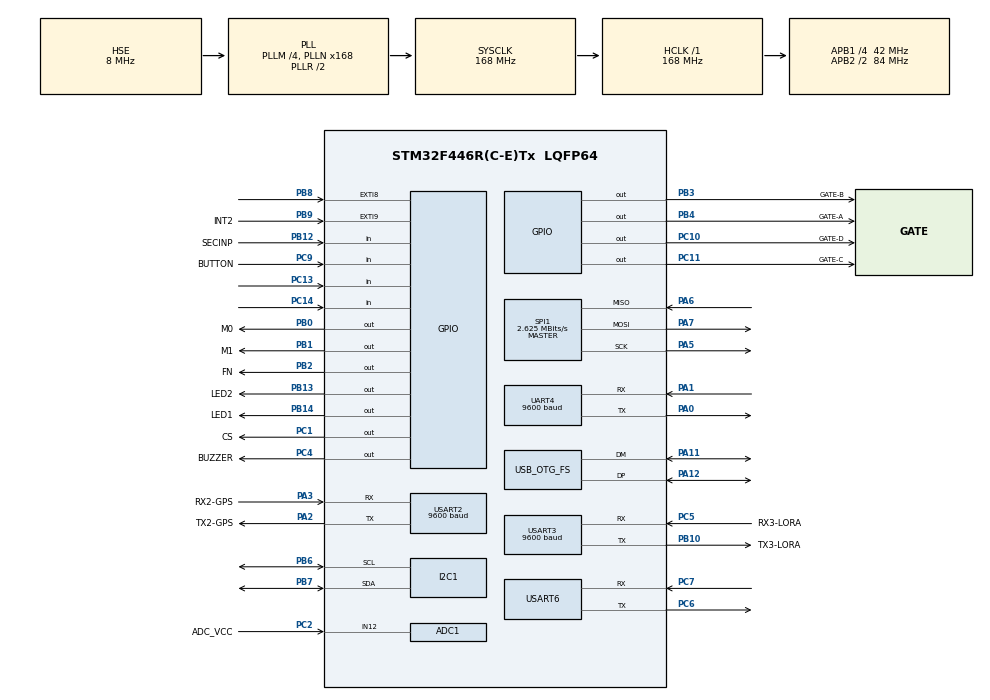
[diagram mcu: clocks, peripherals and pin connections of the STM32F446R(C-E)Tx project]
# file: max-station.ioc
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ADC1.Channel-11\#ChannelRegularConversion=ADC_CHANNEL_12
ADC1.ContinuousConvMode=ENABLE
ADC1.NbrOfConversionFlag=1
ADC1.Rank-11\#ChannelRegularConversion=1
ADC1.SamplingTime-11\#ChannelRegularConversion=ADC_SAMPLETIME_3CYCLES
ADC1.master=1
Dma.Request0=USART3_RX
Dma.Request1=USART6_RX
Dma.USART3_RX.0.Direction=DMA_PERIPH_TO_MEMORY
Dma.USART3_RX.0.FIFOMode=DMA_FIFOMODE_DISABLE
Dma.USART3_RX.0.Instance=DMA1_Stream1
Dma.USART3_RX.0.MemDataAlignment=DMA_MDATAALIGN_BYTE
Dma.USART3_RX.0.MemInc=DMA_MINC_ENABLE
Dma.USART3_RX.0.Mode=DMA_NORMAL
Dma.USART3_RX.0.PeriphDataAlignment=DMA_PDATAALIGN_BYTE
Dma.USART3_RX.0.PeriphInc=DMA_PINC_DISABLE
Dma.USART3_RX.0.Priority=DMA_PRIORITY_LOW
Dma.USART6_RX.1.Direction=DMA_PERIPH_TO_MEMORY
Dma.USART6_RX.1.FIFOMode=DMA_FIFOMODE_DISABLE
Dma.USART6_RX.1.Instance=DMA2_Stream1
Dma.USART6_RX.1.MemDataAlignment=DMA_MDATAALIGN_BYTE
Dma.USART6_RX.1.MemInc=DMA_MINC_ENABLE
Dma.USART6_RX.1.Mode=DMA_NORMAL
Dma.USART6_RX.1.PeriphDataAlignment=DMA_PDATAALIGN_BYTE
Dma.USART6_RX.1.PeriphInc=DMA_PINC_DISABLE
Dma.USART6_RX.1.Priority=DMA_PRIORITY_LOW
I2C1.I2C_Mode=I2C_Standard
Mcu.Family=STM32F4
Mcu.Name=STM32F446R(C-E)Tx
Mcu.Package=LQFP64
NVIC.ADC_IRQn=true\:0\:0\:false\:false\:true\:true\:true\:true
NVIC.DMA1_Stream1_IRQn=true\:0\:0\:false\:false\:true\:false\:true\:true
NVIC.DMA2_Stream1_IRQn=true\:0\:0\:false\:false\:true\:false\:true\:true
NVIC.OTG_FS_IRQn=true\:0\:0\:false\:false\:true\:false\:true\:true
NVIC.PriorityGroup=NVIC_PRIORITYGROUP_4
NVIC.TIM1_TRG_COM_TIM11_IRQn=true\:0\:0\:false\:false\:true\:true\:true\:true
NVIC.USART2_IRQn=true\:1\:0\:true\:false\:true\:true\:true\:true
NVIC.USART3_IRQn=true\:0\:0\:false\:false\:true\:true\:true\:true
NVIC.USART6_IRQn=true\:0\:0\:false\:false\:true\:true\:true\:true
PA0-WKUP.Mode=Asynchronous
PA0-WKUP.Signal=UART4_TX
PA1.Mode=Asynchronous
PA1.Signal=UART4_RX
PA11.Mode=Device_Only
PA11.Signal=USB_OTG_FS_DM
PA12.Mode=Device_Only
PA12.Signal=USB_OTG_FS_DP
PA13.Mode=Serial_Wire
PA13.Signal=SYS_JTMS-SWDIO
PA14.Mode=Serial_Wire
PA14.Signal=SYS_JTCK-SWCLK
PA2.GPIO_Label=TX2-GPS
PA2.Mode=Asynchronous
PA2.Signal=USART2_TX
PA3.GPIO_Label=RX2-GPS
PA3.Mode=Asynchronous
PA3.Signal=USART2_RX
PA5.Mode=Full_Duplex_Master
PA5.Signal=SPI1_SCK
PA6.Mode=Full_Duplex_Master
PA6.Signal=SPI1_MISO
PA7.Mode=Full_Duplex_Master
PA7.Signal=SPI1_MOSI
PB0.GPIO_Label=M0
PB0.Signal=GPIO_Output
PB1.GPIO_Label=M1
PB1.Signal=GPIO_Output
PB10.GPIO_Label=TX3-LORA
PB10.Mode=Asynchronous
PB10.Signal=USART3_TX
PB12.GPIO_Label=SECINP
PB12.GPIO_PuPd=GPIO_PULLUP
PB12.Signal=GPIO_Input
PB13.GPIO_Label=LED2
PB13.Signal=GPIO_Output
PB14.GPIO_Label=LED1
PB14.Signal=GPIO_Output
PB2.GPIO_Label=FN
PB2.Signal=GPIO_Output
PB3.GPIO_Label=GATE-B
PB3.Signal=GPIO_Output
PB4.GPIO_Label=GATE-A
PB4.Signal=GPIO_Output
PB6.Mode=I2C
PB6.Signal=I2C1_SCL
PB7.Mode=I2C
PB7.Signal=I2C1_SDA
PB8.GPIO_ModeDefaultEXTI=GPIO_MODE_IT_RISING
PB8.Signal=GPXTI8
PB9.GPIO_Label=INT2
PB9.GPIO_PuPd=GPIO_NOPULL
PB9.Signal=GPXTI9
PC1.GPIO_Label=CS
PC1.Signal=GPIO_Output
PC10.GPIO_Label=GATE-D
PC10.Signal=GPIO_Output
PC11.GPIO_Label=GATE-C
PC11.Signal=GPIO_Output
PC13.Signal=GPIO_Input
PC14-OSC32_IN.Signal=GPIO_Input
PC2.GPIO_Label=ADC_VCC
PC2.Signal=ADCx_IN12
PC4.GPIO_Label=BUZZER
PC4.Signal=GPIO_Output
PC5.GPIO_Label=RX3-LORA
PC5.Mode=Asynchronous
PC5.Signal=USART3_RX
PC6.Mode=Asynchronous
PC6.Signal=USART6_TX
PC7.Mode=Asynchronous
PC7.Signal=USART6_RX
PC9.GPIO_Label=BUTTON
PC9.GPIO_PuPd=GPIO_PULLUP
PC9.Signal=GPIO_Input
PH0-OSC_IN.Mode=HSE-External-Oscillator
PH0-OSC_IN.Signal=RCC_OSC_IN
PH1-OSC_OUT.Mode=HSE-External-Oscillator
PH1-OSC_OUT.Signal=RCC_OSC_OUT
ProjectManager.HeapSize=0x200
ProjectManager.StackSize=0x400
ProjectManager.TargetToolchain=STM32CubeIDE
RCC.AHBFreq_Value=168000000
RCC.APB1CLKDivider=RCC_HCLK_DIV4
RCC.APB1Freq_Value=42000000
RCC.APB1TimFreq_Value=84000000
RCC.APB2CLKDivider=RCC_HCLK_DIV2
RCC.APB2Freq_Value=84000000
RCC.APB2TimFreq_Value=168000000
RCC.CortexFreq_Value=168000000
RCC.HCLKFreq_Value=168000000
RCC.HSE_VALUE=8000000
RCC.PLLM=4
RCC.PLLN=168
RCC.PLLQ=7
RCC.PLLSourceVirtual=RCC_PLLSOURCE_HSE
RCC.SYSCLKFreq_VALUE=168000000
RCC.SYSCLKSource=RCC_SYSCLKSOURCE_PLLRCLK
RCC.USBFreq_Value=48000000
RCC.VCOOutputFreq_Value=336000000
SH.ADCx_IN12.0=ADC1_IN12,IN12
SPI1.BaudRatePrescaler=SPI_BAUDRATEPRESCALER_32
SPI1.CalculateBaudRate=2.625 MBits/s
SPI1.Direction=SPI_DIRECTION_2LINES
SPI1.Mode=SPI_MODE_MASTER
SPI1.VirtualType=VM_MASTER
TIM11.Period=15000-1
TIM11.Prescaler=16800
UART4.BaudRate=9600
UART4.VirtualMode=Asynchronous
USART2.BaudRate=9600
USART2.VirtualMode=VM_ASYNC
USART3.BaudRate=9600
USART3.VirtualMode=VM_ASYNC
USART6.VirtualMode=VM_ASYNC
USB_DEVICE.CLASS_NAME_FS=CDC
USB_DEVICE.VirtualMode-CDC_FS=Cdc
USB_DEVICE.VirtualModeFS=Cdc_FS
USB_OTG_FS.VirtualMode=Device_Only
VP_FATFS_VS_Generic.Mode=User_defined
VP_TIM11_VS_ClockSourceINT.Mode=Enable_Timer
VP_USB_DEVICE_VS_USB_DEVICE_CDC_FS.Mode=CDC_FS
board=custom

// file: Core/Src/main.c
/* USER CODE BEGIN Header */
/**
  ******************************************************************************
  * @file           : main.c
  * @brief          : Main program body
  ******************************************************************************
  * @attention
  *
  * Copyright (c) 2024 STMicroelectronics.
  * All rights reserved.
  *
  * This software is licensed under terms that can be found in the LICENSE file
  * in the root directory of this software component.
  * If no LICENSE file comes with this software, it is provided AS-IS.
  *
  ******************************************************************************
  */
/* USER CODE END Header */
#include "main.h"
#include "fatfs.h"
#include "usb_device.h"

/* USER CODE BEGIN Includes */
#include "lwgps/lwgps.h"
#include "w25q.h"
#include <math.h>
#include "stdio.h"
#include "string.h"
/* USER CODE END Includes */

/* USER CODE BEGIN PD */
#define LORA_RX_BUFFER_SIZE 75
#define RX_BUFFER_SIZE 128
#define HYI_BUFFER_SIZE 78

#define TAKIM_ID 31
/* USER CODE END PD */

ADC_HandleTypeDef hadc1;

I2C_HandleTypeDef hi2c1;

SPI_HandleTypeDef hspi1;

TIM_HandleTypeDef htim11;

UART_HandleTypeDef huart4;
UART_HandleTypeDef huart2;
UART_HandleTypeDef huart3;
UART_HandleTypeDef huart6;
DMA_HandleTypeDef hdma_usart3_rx;
DMA_HandleTypeDef hdma_usart6_rx;

/* USER CODE BEGIN PV */
uint8_t lora_rx_buffer[LORA_RX_BUFFER_SIZE];
uint8_t RS_rx_buffer[LORA_RX_BUFFER_SIZE];
uint8_t rx_index_lora=0;
uint8_t rx_data_lora=0;

uint8_t HYI_BUFFER[HYI_BUFFER_SIZE];

uint8_t gps_rx_buffer[RX_BUFFER_SIZE];
uint8_t rx_index=0;
uint8_t rx_data=0;

uint8_t Cmd_End[3] = {0xff,0xff,0xff};

uint8_t nextion_rx_data[5];

const double PI = 4.0*atan(1.0);
const double radius_of_earth = 6378136.0474;
double _distance=0;
double _angle=0;

///////////////sustainer
uint8_t sustgpssatsinview=0;
float sustgpsaltitude=0;
float sustgpslatitude=0;
float sustgpslongitude=0;
float sustspeed=0;
float sustaltitude=0;
float susttemperature=0;
float sustaccx=0;
float sustaccy=0;
float sustaccz=0;
float sustroll=0;
float sustpitch=0;
uint8_t sustv4_battery=0;
uint8_t sustv4_mod=0;
uint8_t suststage_communication=0;

float s_distance=0;

//egu
uint8_t EGU_ARIZA=0;
uint8_t EGU_AYRILMA_TESPIT=0;
uint8_t EGU_MOTOR_ATESLEME_TALEP_IN=0;
uint8_t EGU_STAGE_DURUM=0;
uint8_t EGU_UCUS_BASLADIMI=0;
uint8_t EGU_FITIL =0;

float EGU_BATTERY=0;
float EGU_IRTIFA=0;
float EGU_ANGLE=0;

////////////BOOOSTER

uint8_t boostgpssatsinview=0;
float boostgpsaltitude=0;
float boostgpslatitude=0;
float boostgpslongitude=0;
float boostspeed=0;
float boostaltitude=0;
float boosttemperature=0;
float boostaccx=0;
float boostaccy=0;
float boostaccz=0;
float boostroll=0;
float boostpitch=0;
uint8_t boostv4_battery=0;
uint8_t boostv4_mod=0;
uint8_t booststage_communication=0;

float bs_distance=0;

typedef struct
{	uint8_t satsinview;
	float gpsaltitude;
	float gpslatitude;
	float gpslongitude;
	float speed;
	float altitude;
	float temperature;
	float accx;
	float accy;
	float accz;
	float normal;
	float pitch;
	float maxAltitude;
	uint8_t battery;
	uint8_t mod;
	uint8_t communication;

}dataTypeDef;

dataTypeDef Payload, Booster , Sustainer;

///////////////////////////////////////////////////booster ekran
uint8_t b_altitude[8];
uint8_t b_temperature[5];
uint8_t b_speed[5];
uint8_t b_roll[5];
uint8_t b_pitch[5];
uint8_t b_latitude[9];
uint8_t b_longitude[9];
uint8_t b_bat[2];
uint8_t b_sats[2];
uint8_t b_comm[2];
uint8_t b_dist[6];

uint8_t enum_bs[9];
uint8_t enum_s[9];

char s_altitude[8];
uint8_t s_temperature[5];
uint8_t s_speed[5];
uint8_t s_roll[5];
uint8_t s_pitch[5];
uint8_t s_latitude[9];
uint8_t s_longitude[9];
uint8_t s_bat[2];
uint8_t s_sats[2];
uint8_t s_comm[2];
uint8_t s_dist[6];

///////////////////////////////////////////////////
uint8_t seconds[2];
uint8_t minutes[2];
uint8_t hours[2];
/////////////////////////////////////////////////
uint8_t p_latitude[9];
uint8_t p_longitude[9];
uint8_t p_altitude[7];
uint8_t p_gpsaltitude[7];
uint8_t p_bat[2];
////////////////////////////////////////////////
uint8_t e_altitude[7];
uint8_t e_bat[2];
uint8_t e_angle[5];
uint8_t e_flight[2];
uint8_t e_stage[2];
uint8_t e_fitil[5];
uint8_t e_engine_request[3];

uint8_t test_index=0;

float adc;
float adc_pil_val;
uint8_t adc_flag;

uint8_t st_bat[2];

uint32_t tim1=0;
uint32_t takim_sayac;

uint8_t BUTTON_STATE=0;

uint8_t writeData[50] = {0,1,1,1};
uint8_t readData[50] = {0};

uint32_t crc;
uint8_t chs;
lwgps_t gps;

typedef union{
  float fVal;
  unsigned char array[4];
}float2unit8;

float2unit8 f2u8_booster;
int counthalf=0,countfull=0;

/* USER CODE END PV */

void SystemClock_Config(void);
static void MX_GPIO_Init(void);
static void MX_DMA_Init(void);
static void MX_ADC1_Init(void);
static void MX_I2C1_Init(void);
static void MX_SPI1_Init(void);
static void MX_UART4_Init(void);
static void MX_USART2_UART_Init(void);
static void MX_USART3_UART_Init(void);
static void MX_TIM11_Init(void);
static void MX_USART6_UART_Init(void);
/* USER CODE BEGIN PFP */
void E220_CONFIG(uint8_t ADDH, uint8_t ADDL, uint8_t CHN, uint8_t MODE);
double distance_in_m(double lat1, double long1, double lat2, double long2);
double toRadians(double degree);
double calculateAngle(double lat1, double lon1, double lat2, double lon2);
void NEXTION_SendString (char *ID, char *string);
void NEXTION_SendNum (char *obj, int32_t num);
void NEXTION_SendFloat (char *obj, float num, int dp);
void HYI_BUFFER_Fill(void);
void Payload_union_converter(void);
void Booster_union_converter(void);
void Sustainer_union_converter(void);
void Screen_Update(void);
void Enum_State_bs(void);
void Enum_State_s(void);
void Nextion_SendCommand(char* command);
void Nextion_SendFloatToTextbox(char* textbox_id, float value);
/* USER CODE END PFP */

/* USER CODE BEGIN 0 */
//void HAL_UART_RxHalfCpltCallback(UART_HandleTypeDef *huart)
//{
//	counthalf++;
//}

void HAL_UART_RxCpltCallback(UART_HandleTypeDef *huart)
{
	if(huart == &huart6){ // RS232 Alım
	if(rx_data_lora != '\n'&& rx_index_lora < LORA_RX_BUFFER_SIZE){
		RS_rx_buffer[rx_index_lora++]=rx_data_lora;

	}
	else{
		rx_data_lora=0;
		rx_index_lora=0;

		}
	HAL_UART_Receive_IT(&huart6, &rx_data_lora, 1);
	}
//
	if(huart == &huart3){ // Lora alım

		HAL_UART_Receive_DMA(&huart3, lora_rx_buffer, 75);
	}

	if(huart == &huart2) {
			if( rx_data != '\n'&& rx_index < RX_BUFFER_SIZE) {
				gps_rx_buffer[rx_index++] = rx_data;
			} else {
				lwgps_process(&gps, gps_rx_buffer, rx_index+1);
				rx_index = 0;
				rx_data = 0;
			}
			HAL_UART_Receive_IT(&huart2, &rx_data, 1);
		}
}

void HAL_TIM_PeriodElapsedCallback(TIM_HandleTypeDef *htim)
{

	if(htim==&htim11){ // 1 sn
   adc_flag=1;

	}

}

void HAL_ADC_ConvCpltCallback(ADC_HandleTypeDef* hadc)
{
	if(hadc->Instance == ADC1 )
	{
		adc= HAL_ADC_GetValue(&hadc1);

		//adc_flag = 1;
	}
}

/* USER CODE END 0 */

int main(void)
{

  /* MCU Configuration--------------------------------------------------------*/

  /* Reset of all peripherals, Initializes the Flash interface and the Systick. */
   HAL_Init();

  /* Configure the system clock */
  SystemClock_Config();

  /* Initialize all configured peripherals */
  MX_GPIO_Init();
  MX_DMA_Init();
  MX_ADC1_Init();
  MX_I2C1_Init();
  MX_SPI1_Init();
  MX_UART4_Init();
  MX_USART2_UART_Init();
  MX_USART3_UART_Init();
  MX_FATFS_Init();
  MX_TIM11_Init();
  MX_USB_DEVICE_Init();
  MX_USART6_UART_Init();
  /* USER CODE BEGIN 2 */

 // HAL_UART_Receive_IT(&huart3, &rx_data_lora, 1);
  HAL_UART_Receive_DMA(&huart3, lora_rx_buffer, 75);
  HAL_UART_Receive_IT(&huart6, &rx_data_lora, 1);
  HAL_UART_Receive_IT(&huart2,&rx_data, 1);
  E220_CONFIG(0x8,0x2A,0x10,1); //0x8,0x2A,0x10,1
  lwgps_init(&gps);

  HAL_ADC_Start_IT(&hadc1);
  HAL_TIM_Base_Start_IT(&htim11);

  tim1=HAL_GetTick();
  /* USER CODE END 2 */

  /* Infinite loop */
  /* USER CODE BEGIN WHILE */
  while (1)
  {

		  HYI_BUFFER_Fill();

	  if(lora_rx_buffer[3]==2 && lora_rx_buffer[50] == 0x31){

		  Sustainer.satsinview=lora_rx_buffer[4];

		  Sustainer_union_converter();
		  Sustainer.battery=lora_rx_buffer[49];
		  Sustainer.mod=lora_rx_buffer[73];
		  Sustainer.communication=lora_rx_buffer[51];

			 //EGU PART
			 EGU_ARIZA=lora_rx_buffer[52];
			 EGU_AYRILMA_TESPIT=lora_rx_buffer[53];

			 float2unit8 f2u8_EGU_BATTERY;
			for(uint8_t i=0;i<4;i++)
			{
				f2u8_EGU_BATTERY.array[i]=lora_rx_buffer[i+54];
			}
			 EGU_BATTERY=f2u8_EGU_BATTERY.fVal;

			 float2unit8 f2u8_EGU_ANGLE;
			for(uint8_t i=0;i<4;i++)
			{
				f2u8_EGU_ANGLE.array[i]=lora_rx_buffer[i+58];
			}
			  EGU_ANGLE=f2u8_EGU_ANGLE.fVal;

			  float2unit8 f2u8_EGU_IRTIFA;
			for(uint8_t i=0;i<4;i++)
			{
				f2u8_EGU_IRTIFA.array[i]=lora_rx_buffer[i+62];
			}
		  EGU_IRTIFA=f2u8_EGU_IRTIFA.fVal;

		  EGU_FITIL=lora_rx_buffer[53];
	/*  EGU_UCUS_BASLADIMI*/sustv4_mod=lora_rx_buffer[66];
		  EGU_STAGE_DURUM=lora_rx_buffer[67];
		  EGU_MOTOR_ATESLEME_TALEP_IN=lora_rx_buffer[68];

		  f2u8_altitude.array[0] = lora_rx_buffer[69];
		  f2u8_altitude.array[1] = lora_rx_buffer[70];
		  f2u8_altitude.array[2] = lora_rx_buffer[71];
		  f2u8_altitude.array[3] = lora_rx_buffer[72];
		  Sustainer.maxAltitude=f2u8_altitude.fVal;

}

	   if(RS_rx_buffer[3]==1 && RS_rx_buffer[50]==0x32){

		  Booster.satsinview=RS_rx_buffer[4];

    	  Booster_union_converter();
		  Booster.battery=RS_rx_buffer[49];
		  Booster.mod=RS_rx_buffer[73];
		  Booster.communication=RS_rx_buffer[51];

		  f2u8_booster.array[0] = RS_rx_buffer[69];
		  f2u8_booster.array[1] = RS_rx_buffer[70];
		  f2u8_booster.array[2] = RS_rx_buffer[71];
		  f2u8_booster.array[3] = RS_rx_buffer[72];
		  Booster.maxAltitude = f2u8_booster.fVal;

	  	  }

	     else if(RS_rx_buffer[3]==3 && RS_rx_buffer[50]==0x33)
		  {

		  Payload.satsinview=RS_rx_buffer[4];

		  Payload_union_converter();

		  Payload.battery=RS_rx_buffer[49];
		  Payload.mod=RS_rx_buffer[73];
		  Payload.communication=RS_rx_buffer[51];
	        // payload ekran

		  }

	  // EKRANA YAZMA

    	sprintf(st_bat,"%2d",(uint8_t)adc_pil_val);
    	NEXTION_SendString("t54", st_bat);

        Enum_State_bs();
        Enum_State_s();
     //   NEXTION_SendString("t58", &EGU_MOTOR_ATESLEME_TALEP_IN);
    	sprintf(seconds,"%2d",gps.seconds);
    	sprintf(minutes,"%2d",gps.minutes);
    	sprintf(hours,"%2d",gps.hours);

        NEXTION_SendString("t4", hours);
        NEXTION_SendString("t6", minutes);
        NEXTION_SendString("t8", seconds);

        //megü ekran

        if(EGU_MOTOR_ATESLEME_TALEP_IN==1){
        	e_engine_request[0]='Y';
        	e_engine_request[1]='E';
        	e_engine_request[2]='S';
        }
        else{
        	e_engine_request[0]='N';
        	e_engine_request[1]='O';
        	e_engine_request[2]='\0';
        }

        if(EGU_BATTERY>0)
        {
        	if(EGU_FITIL==0){
            	e_fitil[0]='R';
            	e_fitil[1]='E';
            	e_fitil[2]='A';
            	e_fitil[3]='D';
            	e_fitil[4]='Y';

        	}
        	else if(EGU_FITIL==1){
            	e_fitil[0]='F';
            	e_fitil[1]='I';
            	e_fitil[2]='R';
            	e_fitil[3]='E';
            	e_fitil[4]='D';
        	}

        }
        else {

        	e_fitil[0]='O';
        	e_fitil[1]='F';
        	e_fitil[2]='F';
        	e_fitil[3]='\0';
        	e_fitil[4]='\0';

        }

    	for(uint8_t i=4;i<75;i++)
    	{
    		crc+=HYI_BUFFER[i];
    		chs=crc % 256;

    	}
         HYI_BUFFER[75]= chs; // CRC
     	 CDC_Transmit_FS(HYI_BUFFER,HYI_BUFFER_SIZE);
     	 crc=0;
          // CDC_Transmit_FS("LLLL",4);

if(adc_flag ==1)
	  {
		  if(adc > 2476) adc = 2234;
		  if(adc < 1755) adc = 1755;
		  // 6V = 1755 adc val 1,41V
		  // 8.4V = 2476 adc val 1,99V 0,58V
		  adc_pil_val=(float)( ( ( (adc/4095)*3.3)-1.41) / (1.99-1.41) ) *100 ;
		 // adc_pil_val = (adc-1755)/(2746-1755)*100;
		  adc_flag=0;

		  s_distance=distance_in_m(gps.latitude,gps.longitude,sustgpslatitude,sustgpslongitude);
		  bs_distance=distance_in_m(gps.latitude,gps.longitude,boostgpslatitude,boostgpslongitude);

	  }

    /* USER CODE END WHILE */

  }
}

void SystemClock_Config(void)
{
  RCC_OscInitTypeDef RCC_OscInitStruct = {0};
  RCC_ClkInitTypeDef RCC_ClkInitStruct = {0};

  /** Configure the main internal regulator output voltage
  */
  __HAL_RCC_PWR_CLK_ENABLE();
  __HAL_PWR_VOLTAGESCALING_CONFIG(PWR_REGULATOR_VOLTAGE_SCALE1);

  /** Initializes the RCC Oscillators according to the specified parameters
  * in the RCC_OscInitTypeDef structure.
  */
  RCC_OscInitStruct.OscillatorType = RCC_OSCILLATORTYPE_HSE;
  RCC_OscInitStruct.HSEState = RCC_HSE_ON;
  RCC_OscInitStruct.PLL.PLLState = RCC_PLL_ON;
  RCC_OscInitStruct.PLL.PLLSource = RCC_PLLSOURCE_HSE;
  RCC_OscInitStruct.PLL.PLLM = 4;
  RCC_OscInitStruct.PLL.PLLN = 168;
  RCC_OscInitStruct.PLL.PLLP = RCC_PLLP_DIV2;
  RCC_OscInitStruct.PLL.PLLQ = 7;
  RCC_OscInitStruct.PLL.PLLR = 2;
  if (HAL_RCC_OscConfig(&RCC_OscInitStruct) != HAL_OK)
  {
    Error_Handler();
  }

  /** Initializes the CPU, AHB and APB buses clocks
  */
  RCC_ClkInitStruct.ClockType = RCC_CLOCKTYPE_HCLK|RCC_CLOCKTYPE_SYSCLK
                              |RCC_CLOCKTYPE_PCLK1|RCC_CLOCKTYPE_PCLK2;
  RCC_ClkInitStruct.SYSCLKSource = RCC_SYSCLKSOURCE_PLLRCLK;
  RCC_ClkInitStruct.AHBCLKDivider = RCC_SYSCLK_DIV1;
  RCC_ClkInitStruct.APB1CLKDivider = RCC_HCLK_DIV4;
  RCC_ClkInitStruct.APB2CLKDivider = RCC_HCLK_DIV2;

  if (HAL_RCC_ClockConfig(&RCC_ClkInitStruct, FLASH_LATENCY_5) != HAL_OK)
  {
    Error_Handler();
  }
}

static void MX_ADC1_Init(void)
{

  ADC_ChannelConfTypeDef sConfig = {0};

  /** Configure the global features of the ADC (Clock, Resolution, Data Alignment and number of conversion)
  */
  hadc1.Instance = ADC1;
  hadc1.Init.ClockPrescaler = ADC_CLOCK_SYNC_PCLK_DIV4;
  hadc1.Init.Resolution = ADC_RESOLUTION_12B;
  hadc1.Init.ScanConvMode = DISABLE;
  hadc1.Init.ContinuousConvMode = ENABLE;
  hadc1.Init.DiscontinuousConvMode = DISABLE;
  hadc1.Init.ExternalTrigConvEdge = ADC_EXTERNALTRIGCONVEDGE_NONE;
  hadc1.Init.ExternalTrigConv = ADC_SOFTWARE_START;
  hadc1.Init.DataAlign = ADC_DATAALIGN_RIGHT;
  hadc1.Init.NbrOfConversion = 1;
  hadc1.Init.DMAContinuousRequests = DISABLE;
  hadc1.Init.EOCSelection = ADC_EOC_SINGLE_CONV;
  if (HAL_ADC_Init(&hadc1) != HAL_OK)
  {
    Error_Handler();
  }

  /** Configure for the selected ADC regular channel its corresponding rank in the sequencer and its sample time.
  */
  sConfig.Channel = ADC_CHANNEL_12;
  sConfig.Rank = 1;
  sConfig.SamplingTime = ADC_SAMPLETIME_3CYCLES;
  if (HAL_ADC_ConfigChannel(&hadc1, &sConfig) != HAL_OK)
  {
    Error_Handler();
  }

}

static void MX_I2C1_Init(void)
{

  hi2c1.Instance = I2C1;
  hi2c1.Init.ClockSpeed = 100000;
  hi2c1.Init.DutyCycle = I2C_DUTYCYCLE_2;
  hi2c1.Init.OwnAddress1 = 0;
  hi2c1.Init.AddressingMode = I2C_ADDRESSINGMODE_7BIT;
  hi2c1.Init.DualAddressMode = I2C_DUALADDRESS_DISABLE;
  hi2c1.Init.OwnAddress2 = 0;
  hi2c1.Init.GeneralCallMode = I2C_GENERALCALL_DISABLE;
  hi2c1.Init.NoStretchMode = I2C_NOSTRETCH_DISABLE;
  if (HAL_I2C_Init(&hi2c1) != HAL_OK)
  {
    Error_Handler();
  }

}

static void MX_SPI1_Init(void)
{

  /* SPI1 parameter configuration*/
  hspi1.Instance = SPI1;
  hspi1.Init.Mode = SPI_MODE_MASTER;
  hspi1.Init.Direction = SPI_DIRECTION_2LINES;
  hspi1.Init.DataSize = SPI_DATASIZE_8BIT;
  hspi1.Init.CLKPolarity = SPI_POLARITY_LOW;
  hspi1.Init.CLKPhase = SPI_PHASE_1EDGE;
  hspi1.Init.NSS = SPI_NSS_SOFT;
  hspi1.Init.BaudRatePrescaler = SPI_BAUDRATEPRESCALER_32;
  hspi1.Init.FirstBit = SPI_FIRSTBIT_MSB;
  hspi1.Init.TIMode = SPI_TIMODE_DISABLE;
  hspi1.Init.CRCCalculation = SPI_CRCCALCULATION_DISABLE;
  hspi1.Init.CRCPolynomial = 10;
  if (HAL_SPI_Init(&hspi1) != HAL_OK)
  {
    Error_Handler();
  }

}

static void MX_TIM11_Init(void)
{

  htim11.Instance = TIM11;
  htim11.Init.Prescaler = 16800;
  htim11.Init.CounterMode = TIM_COUNTERMODE_UP;
  htim11.Init.Period = 15000-1;
  htim11.Init.ClockDivision = TIM_CLOCKDIVISION_DIV1;
  htim11.Init.AutoReloadPreload = TIM_AUTORELOAD_PRELOAD_DISABLE;
  if (HAL_TIM_Base_Init(&htim11) != HAL_OK)
  {
    Error_Handler();
  }

}

static void MX_UART4_Init(void)
{

  huart4.Instance = UART4;
  huart4.Init.BaudRate = 9600;
  huart4.Init.WordLength = UART_WORDLENGTH_8B;
  huart4.Init.StopBits = UART_STOPBITS_1;
  huart4.Init.Parity = UART_PARITY_NONE;
  huart4.Init.Mode = UART_MODE_TX_RX;
  huart4.Init.HwFlowCtl = UART_HWCONTROL_NONE;
  huart4.Init.OverSampling = UART_OVERSAMPLING_16;
  if (HAL_UART_Init(&huart4) != HAL_OK)
  {
    Error_Handler();
  }

}

static void MX_USART2_UART_Init(void)
{

  huart2.Instance = USART2;
  huart2.Init.BaudRate = 9600;
  huart2.Init.WordLength = UART_WORDLENGTH_8B;
  huart2.Init.StopBits = UART_STOPBITS_1;
  huart2.Init.Parity = UART_PARITY_NONE;
  huart2.Init.Mode = UART_MODE_TX_RX;
  huart2.Init.HwFlowCtl = UART_HWCONTROL_NONE;
  huart2.Init.OverSampling = UART_OVERSAMPLING_16;
  if (HAL_UART_Init(&huart2) != HAL_OK)
  {
    Error_Handler();
  }

}

static void MX_USART3_UART_Init(void)
{

  huart3.Instance = USART3;
  huart3.Init.BaudRate = 9600;
  huart3.Init.WordLength = UART_WORDLENGTH_8B;
  huart3.Init.StopBits = UART_STOPBITS_1;
  huart3.Init.Parity = UART_PARITY_NONE;
  huart3.Init.Mode = UART_MODE_TX_RX;
  huart3.Init.HwFlowCtl = UART_HWCONTROL_NONE;
  huart3.Init.OverSampling = UART_OVERSAMPLING_16;
  if (HAL_UART_Init(&huart3) != HAL_OK)
  {
    Error_Handler();
  }

}

static void MX_USART6_UART_Init(void)
{

  huart6.Instance = USART6;
  huart6.Init.BaudRate = 115200;
  huart6.Init.WordLength = UART_WORDLENGTH_8B;
  huart6.Init.StopBits = UART_STOPBITS_1;
  huart6.Init.Parity = UART_PARITY_NONE;
  huart6.Init.Mode = UART_MODE_TX_RX;
  huart6.Init.HwFlowCtl = UART_HWCONTROL_NONE;
  huart6.Init.OverSampling = UART_OVERSAMPLING_16;
  if (HAL_UART_Init(&huart6) != HAL_OK)
  {
    Error_Handler();
  }

}

static void MX_DMA_Init(void)
{

  /* DMA controller clock enable */
  __HAL_RCC_DMA1_CLK_ENABLE();
  __HAL_RCC_DMA2_CLK_ENABLE();

  /* DMA interrupt init */
  /* DMA1_Stream1_IRQn interrupt configuration */
  HAL_NVIC_SetPriority(DMA1_Stream1_IRQn, 0, 0);
  HAL_NVIC_EnableIRQ(DMA1_Stream1_IRQn);
  /* DMA2_Stream1_IRQn interrupt configuration */
  HAL_NVIC_SetPriority(DMA2_Stream1_IRQn, 0, 0);
  HAL_NVIC_EnableIRQ(DMA2_Stream1_IRQn);

}

static void MX_GPIO_Init(void)
{
  GPIO_InitTypeDef GPIO_InitStruct = {0};

  /* GPIO Ports Clock Enable */
  __HAL_RCC_GPIOC_CLK_ENABLE();
  __HAL_RCC_GPIOH_CLK_ENABLE();
  __HAL_RCC_GPIOA_CLK_ENABLE();
  __HAL_RCC_GPIOB_CLK_ENABLE();

  /*Configure GPIO pin Output Level */
  HAL_GPIO_WritePin(GPIOC, CS_Pin|BUZZER_Pin|GATE_D_Pin|GATE_C_Pin, GPIO_PIN_RESET);

  /*Configure GPIO pin Output Level */
  HAL_GPIO_WritePin(GPIOB, M0_Pin|M1_Pin|FN_Pin|LED2_Pin
                          |LED1_Pin|GATE_B_Pin|GATE_A_Pin, GPIO_PIN_RESET);

  /*Configure GPIO pins : PC13 PC14 */
  GPIO_InitStruct.Pin = GPIO_PIN_13|GPIO_PIN_14;
  GPIO_InitStruct.Mode = GPIO_MODE_INPUT;
  GPIO_InitStruct.Pull = GPIO_NOPULL;
  HAL_GPIO_Init(GPIOC, &GPIO_InitStruct);

  /*Configure GPIO pins : CS_Pin BUZZER_Pin GATE_D_Pin GATE_C_Pin */
  GPIO_InitStruct.Pin = CS_Pin|BUZZER_Pin|GATE_D_Pin|GATE_C_Pin;
  GPIO_InitStruct.Mode = GPIO_MODE_OUTPUT_PP;
  GPIO_InitStruct.Pull = GPIO_NOPULL;
  GPIO_InitStruct.Speed = GPIO_SPEED_FREQ_LOW;
  HAL_GPIO_Init(GPIOC, &GPIO_InitStruct);

  /*Configure GPIO pins : M0_Pin M1_Pin FN_Pin LED2_Pin
                           LED1_Pin GATE_B_Pin GATE_A_Pin */
  GPIO_InitStruct.Pin = M0_Pin|M1_Pin|FN_Pin|LED2_Pin
                          |LED1_Pin|GATE_B_Pin|GATE_A_Pin;
  GPIO_InitStruct.Mode = GPIO_MODE_OUTPUT_PP;
  GPIO_InitStruct.Pull = GPIO_NOPULL;
  GPIO_InitStruct.Speed = GPIO_SPEED_FREQ_LOW;
  HAL_GPIO_Init(GPIOB, &GPIO_InitStruct);

  /*Configure GPIO pin : SECINP_Pin */
  GPIO_InitStruct.Pin = SECINP_Pin;
  GPIO_InitStruct.Mode = GPIO_MODE_INPUT;
  GPIO_InitStruct.Pull = GPIO_PULLUP;
  HAL_GPIO_Init(SECINP_GPIO_Port, &GPIO_InitStruct);

  /*Configure GPIO pin : BUTTON_Pin */
  GPIO_InitStruct.Pin = BUTTON_Pin;
  GPIO_InitStruct.Mode = GPIO_MODE_INPUT;
  GPIO_InitStruct.Pull = GPIO_PULLUP;
  HAL_GPIO_Init(BUTTON_GPIO_Port, &GPIO_InitStruct);

  /*Configure GPIO pins : PB8 INT2_Pin */
  GPIO_InitStruct.Pin = GPIO_PIN_8|INT2_Pin;
  GPIO_InitStruct.Mode = GPIO_MODE_IT_RISING;
  GPIO_InitStruct.Pull = GPIO_NOPULL;
  HAL_GPIO_Init(GPIOB, &GPIO_InitStruct);

}

/* USER CODE BEGIN 4 */
void E220_CONFIG(uint8_t ADDH, uint8_t ADDL, uint8_t CHN, uint8_t MODE)
{
    HAL_GPIO_WritePin(GPIOB, GPIO_PIN_2, SET);
    HAL_GPIO_WritePin(GPIOB, GPIO_PIN_1, SET);
    HAL_Delay(50);

    char cfg_buff[8] = {0}; // E220 için 8 elemanlı bir dizi kullanıyoruz
    enum {Transparent, Fixed} mode;
    mode = MODE;

    cfg_buff[0] = ADDH;
    cfg_buff[1] = ADDL;
    cfg_buff[2] = 0x62;
    cfg_buff[3] = 0x00;
    cfg_buff[4] = CHN;

    switch(mode){
        case Transparent:
            cfg_buff[5] = 0x00;  // opsiyon
            break;
        case Fixed:
            cfg_buff[5] = 0x11;
            break;
        default:
            cfg_buff[5] = 0x11;
     }

     cfg_buff[6] = 0x00;
     cfg_buff[7] = 0x00;

    HAL_UART_Transmit(&huart3, (uint8_t*) cfg_buff, 8, 1000);

    HAL_Delay(25);
    HAL_GPIO_WritePin(GPIOB, GPIO_PIN_2, RESET);
    HAL_GPIO_WritePin(GPIOB, GPIO_PIN_1, RESET);
    HAL_Delay(25);
}
double distance_in_m(double lat1, double long1, double lat2, double long2) {

    double dlat1=lat1*(PI/180);

    double dlong1=long1*(PI/180);
    double dlat2=lat2*(PI/180);
    double dlong2=long2*(PI/180);

    double dLong=dlong1-dlong2;
    double dLat=dlat1-dlat2;

    double aHarv= pow(sin(dLat/2.0),2.0)+cos(dlat1)*cos(dlat2)*pow(sin(dLong/2),2);
    double cHarv=2*atan2(sqrt(aHarv),sqrt(1.0-aHarv));

    double distance=radius_of_earth*cHarv;
    return (distance);
    }
double toRadians(double degree) {
    return (degree * PI / 180.0);
}

double calculateAngle(double lat1, double lon1, double lat2, double lon2){
    double lat1_rad = toRadians(lat1);
    double lat2_rad = toRadians(lat2);
    double delta_lon = toRadians(lon2 - lon1);
    double y = sin(delta_lon) * cos(lat2_rad);
    double x = cos(lat1_rad) * sin(lat2_rad) - sin(lat1_rad) * cos(lat2_rad) * cos(delta_lon);
    double angle_rad = atan2(y, x);
    double angle_deg = angle_rad * 180.0 / PI;
    return angle_deg;
}

void NEXTION_SendString (char *ID, char *string)
{
	char buf[50];
	int len = sprintf (buf, "%s.txt=\"%s\"", ID, string);
	HAL_UART_Transmit(&huart4, (uint8_t *)buf, len, 1000);
	HAL_UART_Transmit(&huart4, Cmd_End, 3, 100);
}

void NEXTION_SendNum (char *obj, int32_t num)
{
	uint8_t *buffer = malloc(30*sizeof (char));
	int len = sprintf ((char *)buffer, "%s.val=%ld", obj, num);
	HAL_UART_Transmit(&huart4, buffer, len, 1000);
	HAL_UART_Transmit(&huart4, Cmd_End, 3, 100);
	free(buffer);
}

void NEXTION_SendFloat (char *obj, float num, int dp)
{
	// convert to the integer
	int32_t number = num*(pow(10,dp));

	uint8_t *buffer = malloc(30*sizeof (char));
	int len = sprintf ((char *)buffer, "%s.vvs1=%d", obj, dp);
	HAL_UART_Transmit(&huart4, buffer, len, 1000);
	HAL_UART_Transmit(&huart4, Cmd_End, 3, 100);

	len = sprintf ((char *)buffer, "%s.val=%ld", obj, number);
	HAL_UART_Transmit(&huart4, buffer, len, 1000);
	HAL_UART_Transmit(&huart4, Cmd_End, 3, 100);
	free(buffer);
}

void Nextion_SendCommand(char* command) {
    HAL_UART_Transmit(&huart4, (uint8_t*)command, strlen(command), 100);
    uint8_t end_cmd[] = {0xFF, 0xFF, 0xFF}; // Nextion end of command
    HAL_UART_Transmit(&huart4, end_cmd, 3, 100);
}

// Function to send a float value to a Nextion text box
void Nextion_SendFloatToTextbox(char* textbox_id, float value) {
    char command[50];
    char value_str[20];

    // Convert the float to a string
    snprintf(value_str, sizeof(value_str), "%.2f", value); // Adjust the format as needed

    // Format the command
    snprintf(command, sizeof(command), "%s.txt=\"%s\"", textbox_id, value_str);

    // Send the command to the Nextion display
    Nextion_SendCommand(command);
}

void HYI_BUFFER_Fill()
{
	HYI_BUFFER[0] =0xFF;
	HYI_BUFFER[1] =0xFF;
	HYI_BUFFER[2] =0x54;
	HYI_BUFFER[3] =0X52;
	HYI_BUFFER[4] =TAKIM_ID;
//	HYI_BUFFER[6] =takim_sayac;
//	HYI_BUFFER[7] =takim_sayac;
//	HYI_BUFFER[8] =takim_sayac;
//	HYI_BUFFER[9] =takim_sayac;
//	HYI_BUFFER[10] =takim_sayac;
//	HYI_BUFFER[11] =takim_sayac;
//	HYI_BUFFER[12] =takim_sayac;
//	HYI_BUFFER[13] =takim_sayac;
//	HYI_BUFFER[14] =takim_sayac;
//	HYI_BUFFER[15] =takim_sayac;
//	HYI_BUFFER[16] =takim_sayac;
//	HYI_BUFFER[17] =takim_sayac;
//	HYI_BUFFER[18] =takim_sayac;
//	HYI_BUFFER[19] =takim_sayac;
//	HYI_BUFFER[20] =takim_sayac;
//	HYI_BUFFER[21] =takim_sayac;
//	HYI_BUFFER[22] =takim_sayac;
//	HYI_BUFFER[23] =takim_sayac;
//	HYI_BUFFER[24] =takim_sayac;
//	HYI_BUFFER[25] =takim_sayac;
//	HYI_BUFFER[26] =takim_sayac;
//	HYI_BUFFER[27] =takim_sayac;
//	HYI_BUFFER[28] =takim_sayac;
//	HYI_BUFFER[29] =takim_sayac;
//	HYI_BUFFER[30] =takim_sayac;
//	HYI_BUFFER[31] =takim_sayac;
//	HYI_BUFFER[32] =takim_sayac;
//	HYI_BUFFER[33] =takim_sayac;
//	HYI_BUFFER[34] =takim_sayac;
//	HYI_BUFFER[35] =takim_sayac;
//	HYI_BUFFER[36] =takim_sayac;
//	HYI_BUFFER[37] =takim_sayac;
//	HYI_BUFFER[38] =takim_sayac;
//	HYI_BUFFER[39] =takim_sayac;
//	HYI_BUFFER[40] =takim_sayac;
//	HYI_BUFFER[41] =takim_sayac;
//	HYI_BUFFER[42] =takim_sayac;
//	HYI_BUFFER[43] =takim_sayac;
//	HYI_BUFFER[44] =takim_sayac;
//	HYI_BUFFER[45] =takim_sayac;
//	HYI_BUFFER[46] =takim_sayac;
//	HYI_BUFFER[47] =takim_sayac;
//	HYI_BUFFER[48] =takim_sayac;
//	HYI_BUFFER[49] =takim_sayac;
//	HYI_BUFFER[50] =takim_sayac;
//	HYI_BUFFER[51] =takim_sayac;
//	HYI_BUFFER[52] =takim_sayac;
//	HYI_BUFFER[53] =takim_sayac;
//	HYI_BUFFER[54] =takim_sayac;
//	HYI_BUFFER[55] =takim_sayac;
//	HYI_BUFFER[56] =takim_sayac;
//	HYI_BUFFER[57] =takim_sayac;
//	HYI_BUFFER[58] =takim_sayac;
//	HYI_BUFFER[59] =takim_sayac;
//	HYI_BUFFER[60] =takim_sayac;
//	HYI_BUFFER[61] =takim_sayac;
//	HYI_BUFFER[62] =takim_sayac;
//	HYI_BUFFER[63] =takim_sayac;
//	HYI_BUFFER[64] =takim_sayac;
//	HYI_BUFFER[65] =takim_sayac;
//	HYI_BUFFER[66] =takim_sayac;
//	HYI_BUFFER[67] =takim_sayac;
//	HYI_BUFFER[68] =takim_sayac;
//	HYI_BUFFER[69] =takim_sayac;
//	HYI_BUFFER[70] =takim_sayac;
//	HYI_BUFFER[71] =takim_sayac;
//	HYI_BUFFER[72] =takim_sayac;
//	HYI_BUFFER[73] =takim_sayac;

	HYI_BUFFER[74]= 1;//EGU_AYRILMA_TESPIT;
	//HYI_BUFFER[75]= crc; // CRC
	HYI_BUFFER[76]= 0x0D;
	HYI_BUFFER[77]= 0x0A;

}
void Payload_union_converter(void)
{
	 float2unit8 f2u8;
			 for(uint8_t i=0;i<4;i++)
			 {
				 f2u8.array[i]=RS_rx_buffer[i+5];
				 HYI_BUFFER[22+i]=RS_rx_buffer[i+5]; // 34 35 36 37
			 }
			 Payload.gpsaltitude=f2u8.fVal;

			 for(uint8_t i=0;i<4;i++)
			 {
				 f2u8.array[i]=RS_rx_buffer[i+9];
				 HYI_BUFFER[26+i]=RS_rx_buffer[i+9]; // 38 39 40 41
			 }
			 Payload.gpslatitude=f2u8.fVal;

			 for(uint8_t i=0;i<4;i++)
			 {
				 f2u8.array[i]=RS_rx_buffer[i+13];
				 HYI_BUFFER[30+i]=RS_rx_buffer[i+13]; // 42 43 44 45
			 }
			 Payload.gpslongitude=f2u8.fVal;

			 for(uint8_t i=0;i<4;i++)
			 {
				 f2u8.array[i]=RS_rx_buffer[i+17];
			 }
			 Payload.altitude=f2u8.fVal;

			 for(uint8_t i=0;i<4;i++)
			 {
				 f2u8.array[i]=RS_rx_buffer[i+21];
			 }
			 Payload.speed=f2u8.fVal;

			 for(uint8_t i=0;i<4;i++)
			 {
				 f2u8.array[i]=RS_rx_buffer[i+25];
			 }
			 Payload.temperature=f2u8.fVal;

			 for(uint8_t i=0;i<4;i++)
			 {
				 f2u8.array[i]=RS_rx_buffer[i+29];
			 }
			 Payload.accx=f2u8.fVal;

			 for(uint8_t i=0;i<4;i++)
			 {
				 f2u8.array[i]=RS_rx_buffer[i+33];
			 }
			 Payload.accy=f2u8.fVal;

		      for(uint8_t i=0;i<4;i++)
			 {
		    	  f2u8.array[i]=RS_rx_buffer[i+37];
			 }
		      Payload.accz=f2u8.fVal;

			  for(uint8_t i=0;i<4;i++)
			 {
				  f2u8.array[i]=RS_rx_buffer[i+41];
			 }
			  Payload.normal=f2u8.fVal;

			  for(uint8_t i=0;i<4;i++)
			 {
				  f2u8.array[i]=RS_rx_buffer[i+45];
			 }
			  Payload.pitch=f2u8.fVal;
}
void Enum_State_bs(void){

    switch(Booster.mod){

    case 0:
    	enum_bs[0]='O';
    	enum_bs[1]='F';
    	enum_bs[2]='F';
    	enum_bs[3]='\0';
    	enum_bs[4]='\0';
    	enum_bs[5]='\0';
    	enum_bs[6]='\0';
    	enum_bs[7]='\0';
    	enum_bs[8]='\0';
    	break;

    case 1:
    	enum_bs[0]='R';
    	enum_bs[1]='A';
    	enum_bs[2]='M';
    	enum_bs[3]='P';
    	enum_bs[4]='A';
    	enum_bs[5]='\0';
    	enum_bs[6]='\0';
    	enum_bs[7]='\0';
    	enum_bs[8]='\0';
    	break;

    case 2:
    	enum_bs[0]='U';
    	enum_bs[1]='C';
    	enum_bs[2]='U';
    	enum_bs[3]='S';
    	enum_bs[4]='\0';
    	enum_bs[5]='\0';
    	enum_bs[6]='\0';
    	enum_bs[7]='\0';
    	enum_s[8]='\0';
    	break;
    case 3:
    	enum_bs[0]='B';
    	enum_bs[1]='U';
    	enum_bs[2]='R';
    	enum_bs[3]='N';
    	enum_bs[4]='O';
    	enum_bs[5]='U';
    	enum_bs[6]='T';
    	enum_bs[7]='\0';
    	enum_bs[8]='\0';
    	break;
    case 4:
    	enum_bs[0]='A';
    	enum_bs[1]='Y';
    	enum_bs[2]='I';
    	enum_bs[3]='R';
    	enum_bs[4]='\0';
    	enum_bs[5]='\0';
    	enum_bs[6]='\0';
    	enum_bs[7]='\0';
    	enum_bs[8]='\0';
    	break;
    case 5:
    	enum_bs[0]='A';
    	enum_bs[1]='Y';
    	enum_bs[2]='R';
    	enum_bs[3]='I';
    	enum_bs[4]='L';
    	enum_bs[5]='D';
    	enum_bs[6]='I';
    	enum_bs[7]='?';
    	enum_bs[8]='\0';
    	break;
    case 6:
    	enum_bs[0]='A';
    	enum_bs[1]='Y';
    	enum_bs[2]='R';
    	enum_bs[3]='I';
    	enum_bs[4]='L';
    	enum_bs[5]='D';
    	enum_bs[6]='I';
    	enum_bs[7]='\0';
    	enum_bs[8]='\0';
    	break;
    case 7:
    	enum_bs[0]='A';
    	enum_bs[1]='Y';
    	enum_bs[2]='R';
    	enum_bs[3]='I';
    	enum_bs[4]='L';
    	enum_bs[5]='M';
    	enum_bs[6]='A';
    	enum_bs[7]='D';
    	enum_bs[8]='I';
    	break;
    case 8:
    	enum_bs[0]='F';
    	enum_bs[1]='I';
    	enum_bs[2]='N';
    	enum_bs[3]='I';
    	enum_bs[4]='S';
    	enum_bs[5]='H';
    	enum_bs[6]='\0';
    	enum_bs[7]='\0';
    	enum_bs[8]='\0';
    	break;

    	 }

    NEXTION_SendString("bs10", &enum_bs);

}
void Enum_State_s(void){

    switch(Sustainer.mod){

    case 0:
    	enum_s[0]='O';
    	enum_s[1]='F';
    	enum_s[2]='F';
    	enum_s[3]='\0';
    	enum_s[4]='\0';
    	enum_s[5]='\0';
    	enum_s[6]='\0';
    	enum_s[7]='\0';
    	enum_s[8]='\0';
    	break;
    case 1:
    	enum_s[0]='R';
    	enum_s[1]='A';
    	enum_s[2]='M';
    	enum_s[3]='P';
    	enum_s[4]='A';
    	enum_s[5]='\0';
    	enum_s[6]='\0';
    	enum_s[7]='\0';
    	enum_s[8]='\0';
    	break;

    case 2:
    	enum_s[0]='U';
    	enum_s[1]='C';
    	enum_s[2]='U';
    	enum_s[3]='S';
    	enum_s[4]='\0';
    	enum_s[5]='\0';
    	enum_s[6]='\0';
    	enum_s[7]='\0';
    	enum_s[8]='\0';
    	break;
    case 3:
    	enum_s[0]='A';
    	enum_s[1]='Y';
    	enum_s[2]='R';
    	enum_s[3]='I';
    	enum_s[4]='L';
    	enum_s[5]='D';
    	enum_s[6]='I';
    	enum_s[7]='?';
    	enum_s[8]='\0';
    	break;
    case 4:
    	enum_s[0]='A';
    	enum_s[1]='Y';
    	enum_s[2]='R';
    	enum_s[3]='I';
    	enum_s[4]='L';
    	enum_s[5]='D';
    	enum_s[6]='I';
    	enum_s[7]='\0';
    	enum_s[8]='\0';
    	break;
    case 5:
    	enum_s[0]='A';
    	enum_s[1]='P';
    	enum_s[2]='O';
    	enum_s[3]='G';
    	enum_s[4]='E';
    	enum_s[5]='E';
    	enum_s[6]='\0';
    	enum_s[7]='\0';
    	enum_s[8]='\0';
    	break;
    case 6:
    	enum_s[0]='M';
    	enum_s[1]='A';
    	enum_s[2]='I';
    	enum_s[3]='N';
    	enum_s[4]='\0';
    	enum_s[5]='\0';
    	enum_s[6]='\0';
    	enum_s[7]='\0';
    	enum_s[8]='\0';
    	break;
    case 7:
    	enum_s[0]='F';
    	enum_s[1]='I';
    	enum_s[2]='N';
    	enum_s[3]='I';
    	enum_s[4]='S';
    	enum_s[5]='H';
    	enum_s[6]='\0';
    	enum_s[7]='\0';
    	enum_s[8]='\0';
    	break;

    	 }

    NEXTION_SendString("s10", &enum_s);

}

void Booster_union_converter(void)
{

					 for(uint8_t i=0;i<4;i++)
					 {
						 f2u8_booster.array[i]=RS_rx_buffer[i+5];
						 HYI_BUFFER[34+i]=RS_rx_buffer[i+5]; // 34 35 36 37
					 }
					 Booster.gpsaltitude=f2u8_booster.fVal;

					 for(uint8_t i=0;i<4;i++)
					 {
						 f2u8_booster.array[i]=RS_rx_buffer[i+9];
						 HYI_BUFFER[38+i]=RS_rx_buffer[i+9]; // 38 39 40 41
					 }
					 Booster.gpslatitude=f2u8_booster.fVal;

					 for(uint8_t i=0;i<4;i++)
					 {
						 f2u8_booster.array[i]=RS_rx_buffer[i+13];
						 HYI_BUFFER[42+i]=RS_rx_buffer[i+13]; // 42 43 44 45
					 }
					 Booster.gpslongitude=f2u8_booster.fVal;

					 for(uint8_t i=0;i<4;i++)
					 {
						 f2u8_booster.array[i]=RS_rx_buffer[i+17];
					 }
					 Booster.altitude=f2u8_booster.fVal;

					 for(uint8_t i=0;i<4;i++)
					 {
						 f2u8_booster.array[i]=RS_rx_buffer[i+21];
					 }
					 Booster.speed=f2u8_booster.fVal;

					 for(uint8_t i=0;i<4;i++)
					 {
						 f2u8_booster.array[i]=RS_rx_buffer[i+25];
					 }
					 Booster.temperature=f2u8_booster.fVal;

					 for(uint8_t i=0;i<4;i++)
					 {
						 f2u8_booster.array[i]=RS_rx_buffer[i+29];
					 }
					 Booster.accx=f2u8_booster.fVal;

					 for(uint8_t i=0;i<4;i++)
					 {
						 f2u8_booster.array[i]=RS_rx_buffer[i+33];
					 }
					 Booster.accy=f2u8_booster.fVal;

				      for(uint8_t i=0;i<4;i++)
					 {
				    	  f2u8_booster.array[i]=RS_rx_buffer[i+37];
					 }
				      Booster.accz=f2u8_booster.fVal;

					  for(uint8_t i=0;i<4;i++)
					 {
						  f2u8_booster.array[i]=RS_rx_buffer[i+41];
					 }
					  Booster.normal=f2u8_booster.fVal;

					  for(uint8_t i=0;i<4;i++)
					 {
						  f2u8_booster.array[i]=RS_rx_buffer[i+45];
					 }
					  Booster.pitch=f2u8_booster.fVal;
}

void Sustainer_union_converter(void)
{
	 float2unit8 f2u8_gpsalt;
					 for(uint8_t i=0;i<4;i++)
					 {
						 f2u8_gpsalt.array[i]=lora_rx_buffer[i+5];
						 HYI_BUFFER[10+i] =lora_rx_buffer[i+5]; // 10 11 12 13
					 }
					 Sustainer.gpsaltitude=f2u8_gpsalt.fVal;
				 float2unit8 f2u8_latitude;

					 for(uint8_t i=0;i<4;i++)
					 {
						f2u8_latitude.array[i]=lora_rx_buffer[i+9];
						HYI_BUFFER[14+i] =lora_rx_buffer[i+9]; // 14 15 16 17
					 }
					 Sustainer.gpslatitude=f2u8_latitude.fVal;

				 float2unit8 f2u8_longitude;
					 for(uint8_t i=0;i<4;i++)
					 {
						f2u8_longitude.array[i]=lora_rx_buffer[i+13];
						HYI_BUFFER[18+i] =lora_rx_buffer[i+13]; // 18 19 20 21
					 }
					 Sustainer.gpslongitude=f2u8_longitude.fVal;

				 float2unit8 f2u8_altitude;
					 for(uint8_t i=0;i<4;i++)
					 {
						f2u8_altitude.array[i]=lora_rx_buffer[i+17];
						HYI_BUFFER[6+i] =lora_rx_buffer[i+17]; // 6 7 8 9
					 }
					 Sustainer.altitude=f2u8_altitude.fVal;

				 float2unit8 f2u8_speed;

					 for(uint8_t i=0;i<4;i++)
					 {
						 f2u8_speed.array[i]=lora_rx_buffer[i+21];
					 }
					 Sustainer.speed=f2u8_speed.fVal;

				 float2unit8 f2u8_temp;
					 for(uint8_t i=0;i<4;i++)
					 {
						 f2u8_temp.array[i]=lora_rx_buffer[i+25];
					 }
					 Sustainer.temperature=f2u8_temp.fVal;

				 float2unit8 f2u8_accx;
					 for(uint8_t i=0;i<4;i++)
					 {
						 f2u8_accx.array[i]=lora_rx_buffer[i+29];
						// HYI_BUFFER[58+i]=lora_rx_buffer[i+29]; //
					 }
					 Sustainer.accx=f2u8_accx.fVal;

				float2unit8 f2u8_accy;
					 for(uint8_t i=0;i<4;i++)
					 {
						 f2u8_accy.array[i]=lora_rx_buffer[i+33];
						 //HYI_BUFFER[62+i]=lora_rx_buffer[i+33];
					 }
					 Sustainer.accy=f2u8_accy.fVal;

				float2unit8 f2u8_accz;
				      for(uint8_t i=0;i<4;i++)
					 {
				    	  f2u8_accz.array[i]=lora_rx_buffer[i+37];
				    	//  HYI_BUFFER[66+i]=lora_rx_buffer[i+37];
					 }
				      Sustainer.accz=f2u8_accz.fVal;

				float2unit8 f2u8_roll;
					  for(uint8_t i=0;i<4;i++)
					 {
						  f2u8_roll.array[i]=lora_rx_buffer[i+41];
					 }
					  Sustainer.normal=f2u8_roll.fVal;

				float2unit8 f2u8_pitch;
					  for(uint8_t i=0;i<4;i++)
					 {
						  f2u8_pitch.array[i]=lora_rx_buffer[i+45];
					 }
					  Sustainer.pitch=f2u8_pitch.fVal;

}

void Screen_Update(void)
{
				sprintf(b_altitude,"%4.3f",Booster.altitude);
		     	sprintf(b_temperature,"%2.2f",Booster.temperature);
		     	sprintf(b_speed,"%2.2f",Booster.speed);
		     	sprintf(b_roll,"%2.2f",Booster.normal);
		     	sprintf(b_pitch,"%2.2f",Booster.pitch);
		     	sprintf(b_latitude,"%2.6f",Booster.gpslatitude);
		     	sprintf(b_longitude,"%2.6f",Booster.gpslongitude);
		     	sprintf(b_bat,"%2d",Booster.battery);
		     	sprintf(b_sats,"%2d",Booster.satsinview);
		       	sprintf(b_comm,"%2d",Booster.communication);
		       	sprintf(b_dist,"%4.2f",bs_distance);

		        NEXTION_SendString("bs1", b_altitude);
		        NEXTION_SendString("bs2", b_temperature);
		        NEXTION_SendString("bs3", b_speed);
		        NEXTION_SendString("bs4", b_roll);
		        NEXTION_SendString("bs5", b_pitch);
		        NEXTION_SendString("bs6", b_sats);
		        NEXTION_SendString("bs7", b_latitude);
		        NEXTION_SendString("bs8", b_longitude);
		        NEXTION_SendString("bs9", b_bat);
		        NEXTION_SendString("t56", b_comm);
		        NEXTION_SendString("t17", b_dist);

		        NEXTION_SendString("m7", e_engine_request);
		        NEXTION_SendString("t59", e_fitil);

		     	sprintf(p_altitude,"%4.2f",Payload.altitude);
				sprintf(p_latitude,"%2.6f",Payload.gpslatitude);
				sprintf(p_gpsaltitude,"%4.2f",Payload.gpsaltitude);
				sprintf(p_longitude,"%2.6f",Payload.gpslongitude);
				sprintf(p_bat,"%2d",Payload.battery);

				NEXTION_SendString("vp1", p_latitude);
				NEXTION_SendString("vp2", p_longitude);
				NEXTION_SendString("vp3", p_gpsaltitude);
				NEXTION_SendString("vp4", p_altitude);
				NEXTION_SendString("vp5", p_bat);

				sprintf(s_altitude,"%4.3f",Sustainer.altitude);
				sprintf(s_temperature,"%2.2f",Sustainer.temperature);
				sprintf(s_speed,"%2.2f",Sustainer.speed);
				sprintf(s_roll,"%2.2f",Sustainer.normal);
				sprintf(s_pitch,"%2.2f",Sustainer.pitch);
				sprintf(s_latitude,"%2.6f",Sustainer.gpslatitude);
				sprintf(s_longitude,"%2.6f",Sustainer.gpslongitude);
				sprintf(s_bat,"%2d",Sustainer.battery);
				sprintf(s_sats,"%2d",Sustainer.satsinview);
				sprintf(s_comm,"%2d",Sustainer.communication);
				sprintf(s_comm,"%2d",Sustainer.communication);
				sprintf(s_dist,"%4.2f",s_distance);

				sprintf(e_altitude,"%4.2f",EGU_IRTIFA);
				sprintf(e_angle,"%2.2f",EGU_ANGLE);
				sprintf(e_bat,"%2d",EGU_BATTERY);
				sprintf(e_flight,"%d",EGU_UCUS_BASLADIMI);
				sprintf(e_stage,"%d",EGU_AYRILMA_TESPIT);
				sprintf(e_fitil,"%d",EGU_FITIL);
				// Nextion_SendFloatToTextbox("s1", Sustainer.altitude);
				 NEXTION_SendString("s1", s_altitude);
				 NEXTION_SendString("s2", s_temperature);
				 NEXTION_SendString("s3", s_speed);
				 NEXTION_SendString("s4", s_roll);
				 NEXTION_SendString("s5", s_pitch);
				 NEXTION_SendString("s6", s_sats);
				 NEXTION_SendString("s7", s_latitude);
				 NEXTION_SendString("s8", s_longitude);
				 NEXTION_SendString("s9", s_bat);
				 NEXTION_SendString("t57", s_comm);
				 NEXTION_SendString("t", s_dist);

				 NEXTION_SendString("m1", e_altitude);
				 NEXTION_SendString("m3", e_angle);
				 NEXTION_SendString("m2", e_bat);
				 NEXTION_SendString("m4", e_flight);
				 NEXTION_SendString("m5", e_stage);
}

/* USER CODE END 4 */

void Error_Handler(void)
{
  __disable_irq();
  while (1)
  {
  }
}
